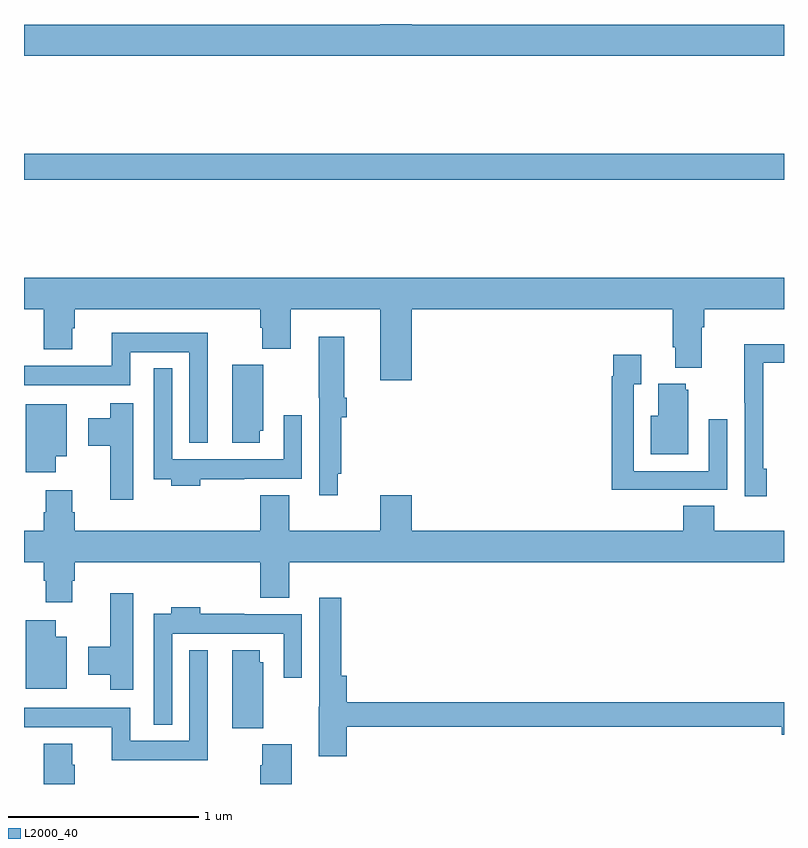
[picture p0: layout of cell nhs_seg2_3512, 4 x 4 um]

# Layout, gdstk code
import gdstk
lib = gdstk.Library(unit=1e-6, precision=1e-09)
def R(c, l, rs):  # rectangles x0, y0, x1, y1
    for r in rs: c.add(gdstk.rectangle(r[:2], r[2:], *l))
def P(c, l, *ps):  # polygons
    for p in ps: c.add(gdstk.Polygon(p, *l))
L2000_40 = (2000, 40)

nhs_seg2_3512 = lib.new_cell('nhs_seg2_3512')
R(nhs_seg2_3512, L2000_40, [(295,650.98,299,651.116)])
P(nhs_seg2_3512, L2000_40, [(299,651.796),(297.04,651.796),(297.04,651.8),(296.876,651.8),(296.876,651.796),(295,651.796),(295,651.632),(299,651.632)],
  [(297.04,650.3),(298.415,650.3),(298.415,650.098),(298.427,650.098),(298.427,649.991),(298.567,649.991),(298.567,650.204),(298.58,650.204),(298.58,650.3),(299,650.3),(299,650.464),(295,650.464),(295,650.3),(295.103,650.3),(295.103,650.087),(295.255,650.087),(295.255,650.199),(295.268,650.199),(295.268,650.3),(296.243,650.3),(296.243,650.201),(296.255,650.201),(296.255,650.092),(296.403,650.092),(296.403,650.3),(296.876,650.3),(296.876,649.926),(297.04,649.926)],
  [(295.966,650.176),(295.463,650.176),(295.463,650.002),(295,650.002),(295,649.898),(295.56,649.898),(295.56,650.072),(295.869,650.072),(295.869,649.595),(295.966,649.595)],
  [(296.652,649.432),(296.669,649.432),(296.669,649.73),(296.699,649.73),(296.699,649.834),(296.686,649.834),(296.686,650.155),(296.552,650.155),(296.552,649.834),(296.553,649.834),(296.553,649.32),(296.652,649.32)],
  [(298.909,649.458),(298.89,649.458),(298.89,650.016),(299,650.016),(299,650.114),(298.792,650.114),(298.792,649.807),(298.794,649.807),(298.794,649.314),(298.909,649.314)],
  [(298.385,649.35),(298.701,649.35),(298.701,649.72),(298.605,649.72),(298.605,649.446),(298.209,649.446),(298.209,649.903),(298.249,649.903),(298.249,650.059),(298.101,650.059),(298.101,649.946),(298.093,649.946),(298.093,649.349),(298.385,649.349)],
  [(296.242,649.659),(296.26,649.659),(296.26,650.007),(296.096,650.007),(296.096,649.596),(296.242,649.596)],
  [(295.928,649.404),(296.159,649.404),(296.159,649.406),(296.463,649.406),(296.463,649.741),(296.367,649.741),(296.367,649.51),(295.779,649.51),(295.779,649.987),(295.683,649.987),(295.683,649.404),(295.775,649.404),(295.775,649.37),(295.928,649.37)],
  [(298.495,649.875),(298.484,649.875),(298.484,649.906),(298.337,649.906),(298.337,649.738),(298.298,649.738),(298.298,649.535),(298.495,649.535)],
  [(295.576,649.804),(295.454,649.804),(295.454,649.726),(295.337,649.726),(295.337,649.579),(295.454,649.579),(295.454,649.296),(295.576,649.296)],
  [(295.168,649.526),(295.225,649.526),(295.225,649.798),(295.01,649.798),(295.01,649.44),(295.168,649.44)],
  [(295.115,649.345),(295.115,649.23),(295.103,649.23),(295.103,649.132),(295,649.132),(295,648.968),(295.103,648.968),(295.103,648.87),(295.115,648.87),(295.115,648.756),(295.255,648.756),(295.255,648.87),(295.268,648.87),(295.268,648.968),(296.243,648.968),(296.243,648.779),(296.395,648.779),(296.395,648.968),(299,648.968),(299,649.132),(298.634,649.132),(298.634,649.265),(298.469,649.265),(298.469,649.132),(297.04,649.132),(297.04,649.321),(296.876,649.321),(296.876,649.132),(296.395,649.132),(296.395,649.321),(296.243,649.321),(296.243,649.132),(295.268,649.132),(295.268,649.23),(295.255,649.23),(295.255,649.345)],
  [(295.576,648.805),(295.454,648.805),(295.454,648.522),(295.337,648.522),(295.337,648.374),(295.454,648.374),(295.454,648.297),(295.576,648.297)],
  [(296.699,648.102),(298.988,648.102),(298.988,648.059),(299,648.059),(299,648.23),(296.699,648.23),(296.699,648.37),(296.669,648.37),(296.669,648.781),(296.553,648.781),(296.553,648.207),(296.552,648.207),(296.552,647.946),(296.699,647.946)],
  [(295.779,648.59),(296.367,648.59),(296.367,648.36),(296.463,648.36),(296.463,648.694),(296.159,648.694),(296.159,648.697),(295.928,648.697),(295.928,648.73),(295.775,648.73),(295.775,648.697),(295.683,648.697),(295.683,648.113),(295.779,648.113)],
  [(295.225,648.574),(295.168,648.574),(295.168,648.661),(295.01,648.661),(295.01,648.302),(295.225,648.302)],
  [(296.26,648.441),(296.242,648.441),(296.242,648.505),(296.096,648.505),(296.096,648.094),(296.26,648.094)],
  [(295.966,648.505),(295.869,648.505),(295.869,648.028),(295.56,648.028),(295.56,648.202),(295,648.202),(295,648.098),(295.463,648.098),(295.463,647.924),(295.966,647.924)],
  [(296.408,648.009),(296.255,648.009),(296.255,647.9),(296.243,647.9),(296.243,647.8),(296.408,647.8)],
  [(295.255,647.901),(295.255,648.013),(295.103,648.013),(295.103,647.8),(295.268,647.8),(295.268,647.901)])

lib.write_gds('nhs_seg2_3512.gds')
